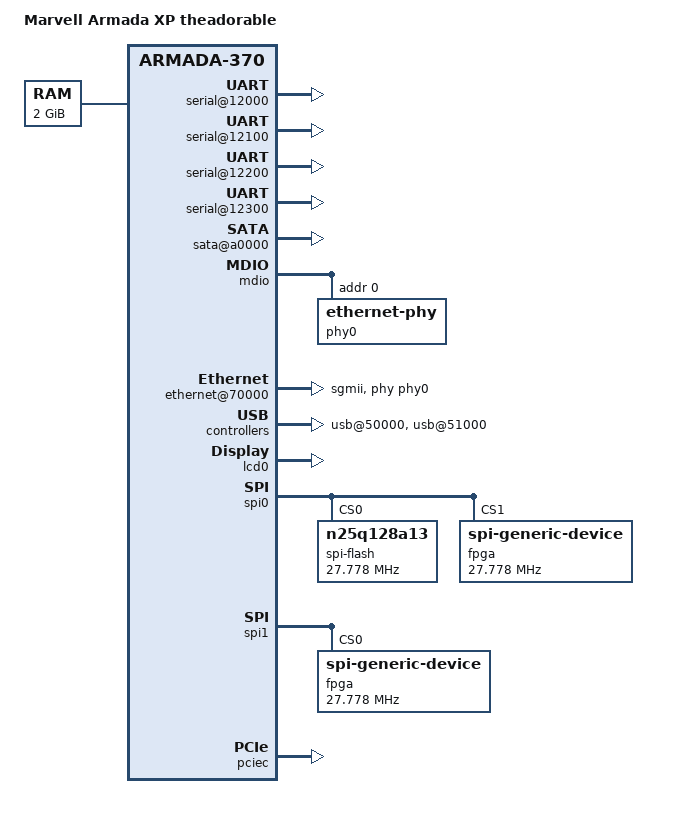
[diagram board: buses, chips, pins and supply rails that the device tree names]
/*
 * Device Tree file for Marvell Armada XP theadorable board
 *
 * Copyright (C) 2013-2014 Marvell
 *
 * Lior Amsalem <alior@marvell.com>
 * Gregory CLEMENT <gregory.clement@free-electrons.com>
 * Thomas Petazzoni <thomas.petazzoni@free-electrons.com>
 *
 * This file is dual-licensed: you can use it either under the terms
 * of the GPL or the X11 license, at your option. Note that this dual
 * licensing only applies to this file, and not this project as a
 * whole.
 *
 *  a) This file is free software; you can redistribute it and/or
 *     modify it under the terms of the GNU General Public License as
 *     published by the Free Software Foundation; either version 2 of the
 *     License, or (at your option) any later version.
 *
 *     This file is distributed in the hope that it will be useful
 *     but WITHOUT ANY WARRANTY; without even the implied warranty of
 *     MERCHANTABILITY or FITNESS FOR A PARTICULAR PURPOSE.  See the
 *     GNU General Public License for more details.
 *
 * Or, alternatively
 *
 *  b) Permission is hereby granted, free of charge, to any person
 *     obtaining a copy of this software and associated documentation
 *     files (the "Software"), to deal in the Software without
 *     restriction, including without limitation the rights to use
 *     copy, modify, merge, publish, distribute, sublicense, and/or
 *     sell copies of the Software, and to permit persons to whom the
 *     Software is furnished to do so, subject to the following
 *     conditions:
 *
 *     The above copyright notice and this permission notice shall be
 *     included in all copies or substantial portions of the Software.
 *
 *     THE SOFTWARE IS PROVIDED , WITHOUT WARRANTY OF ANY KIND
 *     EXPRESS OR IMPLIED, INCLUDING BUT NOT LIMITED TO THE WARRANTIES
 *     OF MERCHANTABILITY, FITNESS FOR A PARTICULAR PURPOSE AND
 *     NONINFRINGEMENT. IN NO EVENT SHALL THE AUTHORS OR COPYRIGHT
 *     HOLDERS BE LIABLE FOR ANY CLAIM, DAMAGES OR OTHER LIABILITY
 *     WHETHER IN AN ACTION OF CONTRACT, TORT OR OTHERWISE, ARISING
 *     FROM, OUT OF OR IN CONNECTION WITH THE SOFTWARE OR THE USE OR
 *     OTHER DEALINGS IN THE SOFTWARE.
 *
 * Note: this Device Tree assumes that the bootloader has remapped the
 * internal registers to 0xf1000000 (instead of the default
 * 0xd0000000). The 0xf1000000 is the default used by the recent,
 * DT-capable, U-Boot bootloaders provided by Marvell. Some earlier
 * boards were delivered with an older version of the bootloader that
 * left internal registers mapped at 0xd0000000. If you are in this
 * situation, you should either update your bootloader (preferred
 * solution) or the below Device Tree should be adjusted.
 */

/dts-v1/;
#include <dt-bindings/gpio/gpio.h>
#include "armada-xp-mv78260.dtsi"

/ {
	model = "Marvell Armada XP theadorable";
	compatible = "marvell,armadaxp-mv78260", "marvell,armadaxp", "marvell,armada-370-xp";

	chosen {
		stdout-path = "serial0:115200n8";
	};

	aliases {
		spi0 = &spi0;
		spi1 = &spi1;
		ethernet0 = &eth0;
	};

	memory {
		device_type = "memory";
		reg = <0x00000000 0x00000000 0x00000000 0x80000000>;
	};

	soc {
		ranges = <MBUS_ID(0xf0, 0x01) 0 0 0xf1000000 0x100000
			  MBUS_ID(0x01, 0x1d) 0 0 0xfff00000 0x100000
			  MBUS_ID(0x01, 0x2f) 0 0 0xf0000000 0x1000000>;

		internal-regs {
			serial@12000 {
				status = "okay";
				u-boot,dm-pre-reloc;
			};

			serial@12100 {
				status = "okay";
			};

			serial@12200 {
				status = "okay";
			};

			serial@12300 {
				status = "okay";
			};

			sata@a0000 {
				nr-ports = <2>;
				status = "okay";
			};

			mdio {
				phy0: ethernet-phy@0 {
					reg = <0>;
				};
			};

			ethernet@70000 {
				status = "okay";
				phy = <&phy0>;
				phy-mode = "sgmii";
			};

			usb@50000 {
				status = "okay";
			};

			usb@51000 {
				status = "okay";
			};

			/* The LCD controller is only used on this board */
			lcd0: lcd-controller@e0000 {
				compatible = "marvell,armada-xp-lcd";
				reg = <0xe0000 0x10000>;
				status = "okay";
				u-boot,dm-pre-reloc;

				display-timings {
					native-mode = <&timing0>;
					timing0: panel0 {
						hactive = <240>;
						vactive = <320>;
						hfront-porch = <1>;
						hback-porch = <45>;
						vfront-porch = <1>;
						vback-porch = <3>;

						/* Some dummy parameters */
						clock-frequency = <0>;
						hsync-len = <0>;
						vsync-len = <0>;
					};
				};
			};
		};
	};
};

&spi0 {
	status = "okay";
	u-boot,dm-pre-reloc;

	spi-flash@0 {
		u-boot,dm-pre-reloc;
		#address-cells = <1>;
		#size-cells = <1>;
		compatible = "n25q128a13", "jedec,spi-nor";
		reg = <0>; /* Chip select 0 */
		spi-max-frequency = <27777777>;
	};

	fpga@1 {
		#address-cells = <1>;
		#size-cells = <1>;
		compatible = "spi-generic-device";
		reg = <1>; /* Chip select 1 */
		spi-max-frequency = <27777777>;
	};
};

&spi1 {
	status = "okay";

	fpga@0 {
		#address-cells = <1>;
		#size-cells = <1>;
		compatible = "spi-generic-device";
		reg = <0>; /* Chip select 0 */
		spi-max-frequency = <27777777>;
	};
};


&pciec {
	status = "okay";

	pcie@1,0 {
		/* Port 0, Lane 0 */
		status = "okay";
	};

	pcie@9,0 {
		/* Port 2, Lane 0 */
		status = "okay";
	};
};
